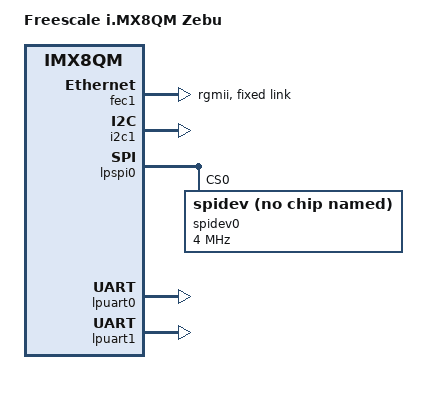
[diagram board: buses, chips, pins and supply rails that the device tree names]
/*
 * Copyright (C) 2016 Freescale Semiconductor, Inc.
 * Copyright 2017 NXP
 *
 * This program is free software; you can redistribute it and/or
 * modify it under the terms of the GNU General Public License
 * as published by the Free Software Foundation; either version 2
 * of the License, or (at your option) any later version.
 *
 * This program is distributed in the hope that it will be useful,
 * but WITHOUT ANY WARRANTY; without even the implied warranty of
 * MERCHANTABILITY or FITNESS FOR A PARTICULAR PURPOSE.  See the
 * GNU General Public License for more details.
 */

/dts-v1/;

/* First 128KB is for PSCI ATF. */
/memreserve/ 0x80000000 0x00020000;

#include "fsl-imx8qm.dtsi"

/ {
	model = "Freescale i.MX8QM Zebu";
	compatible = "fsl,imx8qm-zebu", "fsl,imx8qm";

	chosen {
		bootargs = "console=ttyLP0,115200 earlycon=lpuart32,0x5a060000,115200";
		stdout-path = &lpuart0;
	};
};

&iomuxc {
	imx8qm-zebu {
		pinctrl_fec1: fec1grp {
			fsl,pins = <
				SC_P_ENET0_MDC_CONN_ENET0_MDC			0x06000048
				SC_P_ENET0_MDIO_CONN_ENET0_MDIO			0x06000048
				SC_P_ENET0_RGMII_TX_CTL_CONN_ENET0_RGMII_TX_CTL	0x06000048
				SC_P_ENET0_RGMII_TXC_CONN_ENET0_RGMII_TXC	0x06000048
				SC_P_ENET0_RGMII_TXD0_CONN_ENET0_RGMII_TXD0	0x06000048
				SC_P_ENET0_RGMII_TXD1_CONN_ENET0_RGMII_TXD1	0x06000048
				SC_P_ENET0_RGMII_TXD2_CONN_ENET0_RGMII_TXD2	0x06000048
				SC_P_ENET0_RGMII_TXD3_CONN_ENET0_RGMII_TXD3	0x06000048
				SC_P_ENET0_RGMII_RXC_CONN_ENET0_RGMII_RXC	0x06000048
				SC_P_ENET0_RGMII_RX_CTL_CONN_ENET0_RGMII_RX_CTL	0x06000048
				SC_P_ENET0_RGMII_RXD0_CONN_ENET0_RGMII_RXD0	0x06000048
				SC_P_ENET0_RGMII_RXD1_CONN_ENET0_RGMII_RXD1	0x06000048
				SC_P_ENET0_RGMII_RXD2_CONN_ENET0_RGMII_RXD2	0x06000048
				SC_P_ENET0_RGMII_RXD3_CONN_ENET0_RGMII_RXD3	0x06000048
			>;
		};

		pinctrl_lpuart0: lpuart0grp {
			fsl,pins = <
				SC_P_UART0_RX_DMA_UART0_RX		0x0600004c
				SC_P_UART0_TX_DMA_UART0_TX		0x0600004c
				SC_P_UART0_RTS_B_DMA_UART0_RTS_B	0x0600004c
				SC_P_UART0_CTS_B_DMA_UART0_CTS_B	0x0600004c
			>;
		};

		pinctrl_usdhc1: usdhc1grp {
			fsl,pins = <
				SC_P_EMMC0_CLK_CONN_EMMC0_CLK		0x06000008
				SC_P_EMMC0_CMD_CONN_EMMC0_CMD		0x06000048
				SC_P_EMMC0_DATA0_CONN_EMMC0_DATA0	0x06000048
				SC_P_EMMC0_DATA1_CONN_EMMC0_DATA1	0x06000048
				SC_P_EMMC0_DATA2_CONN_EMMC0_DATA2	0x06000048
				SC_P_EMMC0_DATA3_CONN_EMMC0_DATA3	0x06000048
				SC_P_EMMC0_DATA4_CONN_EMMC0_DATA4	0x06000048
				SC_P_EMMC0_DATA5_CONN_EMMC0_DATA5	0x06000048
				SC_P_EMMC0_DATA6_CONN_EMMC0_DATA6	0x06000048
				SC_P_EMMC0_DATA7_CONN_EMMC0_DATA7	0x06000048
			>;
		};

		pinctrl_lpi2c1: lpi2c1grp {
			fsl,pins = <
				SC_P_USB_SS3_TC1_DMA_I2C1_SCL	0x0600004c
				SC_P_USB_SS3_TC2_DMA_I2C1_SDA	0x0600004c
			>;
		};

		pinctrl_lpspi0: lpspi0grp {
			fsl,pins = <
				SC_P_SPI0_SCK_DMA_SPI0_SCK		0x0600004c
				SC_P_SPI0_SDO_DMA_SPI0_SDO		0x0600004c
				SC_P_SPI0_SDI_DMA_SPI0_SDI		0x0600004c
				SC_P_SPI0_CS0_DMA_SPI0_CS0		0x0600004c
				SC_P_SPI0_CS1_DMA_SPI0_CS1		0x0600004c
			>;
		};
	};
};

&fec1 {
	pinctrl-names = "default";
	inctrl-0 = <&pinctrl_fec1>;
	phy-mode = "rgmii";
	status = "okay";

	fixed-link {
		speed = <1000>;
		full-duplex;
	};
};

&i2c1 {
	pinctrl-names = "default";
	pinctrl-0 = <&pinctrl_lpi2c1>;
	status = "okay";
};

&lpspi0 {
	#address-cells = <1>;
	#size-cells = <0>;
	pinctrl-names = "default";
	pinctrl-0 = <&pinctrl_lpspi0>;
	status = "okay";

	spidev0: spi@0 {
		reg = <0>;
		compatible = "rohm,dh2228fv";
		spi-max-frequency = <4000000>;
	};
};

&lpuart0 {
	pinctrl-names = "default";
	pinctrl-0 = <&pinctrl_lpuart0>;
	status = "okay";
};

&lpuart1 {
	status = "okay";
};

&sai0 {
	assigned-clocks = <&clk IMX8QM_ACM_SAI0_MCLK_SEL>,
			<&clk IMX8QM_AUD_PLL0_DIV>,
			<&clk IMX8QM_AUD_ACM_AUD_PLL_CLK0_DIV>,
			<&clk IMX8QM_AUD_SAI_0_MCLK>;
	assigned-clock-parents = <&clk IMX8QM_AUD_ACM_AUD_PLL_CLK0_CLK>;
	assigned-clock-rates = <0>, <786432000>, <24576000>, <24576000>;
	fsl,sai-asynchronous;
	fsl,i2s-xtor;
	status = "disabled";
};

&esai0 {
	assigned-clocks = <&clk IMX8QM_ACM_ESAI0_MCLK_SEL>,
			<&clk IMX8QM_AUD_PLL0_DIV>,
			<&clk IMX8QM_AUD_ACM_AUD_PLL_CLK0_DIV>,
			<&clk IMX8QM_AUD_ESAI_0_EXTAL_IPG>;
	assigned-clock-parents = <&clk IMX8QM_AUD_ACM_AUD_PLL_CLK0_CLK>;
	assigned-clock-rates = <0>, <786432000>, <24576000>, <24576000>;
	status = "disabled";
};

&A53_0 {
	operating-points = <
		/* kHz    uV */
		1296000 1150000
	>;
	clocks = <&clk IMX8QM_A53_DIV>;
};

&A72_0 {
	operating-points = <
		/* kHz    uV */
		1800000 1150000
	>;
	clocks = <&clk IMX8QM_A72_DIV>;
};
